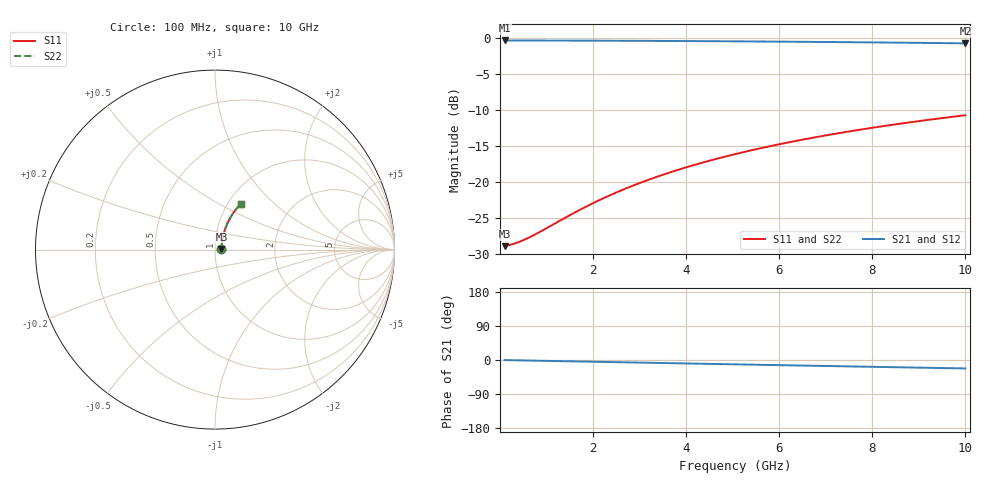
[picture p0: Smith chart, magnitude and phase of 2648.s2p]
# Hz S RI R 50.00
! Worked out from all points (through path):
!   100 points, 100 MHz to 10 GHz, reference 50 ohm
!   highest |S21| = -0.32 dB at 100 MHz (marker M1); lowest = -0.7 dB at 10 GHz (marker M2)
!   group delay of S21, straight-line fit = 6.19 ps
!   lowest |S11| = -28.9 dB at 100 MHz (marker M3), VSWR 1.07, Z = 53.7 + j0.313 ohm
!   |S11| at or under -10 dB: start of sweep to end of sweep
!   |S22| runs from -28.9 to -10.7 dB; largest |S21 - S12| = 0
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1e8  0.0357 0.00291  0.9643 -0.00385  0.9643 -0.00385  0.0357 0.00291
3e8  0.0362 0.00872  0.9638 -0.0116  0.9638 -0.0116  0.0362 0.00872
4e8  0.0364 0.0116  0.9636 -0.0154  0.9636 -0.0154  0.0364 0.0116
6e8  0.0368 0.0174  0.9631 -0.0231  0.9631 -0.0231  0.0368 0.0174
8e8  0.0373 0.0232  0.9626 -0.0308  0.9626 -0.0308  0.0373 0.0232
1.5e9  0.0396 0.0434  0.9603 -0.0575  0.9603 -0.0575  0.0396 0.0434
1.8e9  0.0409 0.052  0.9589 -0.069  0.9589 -0.069  0.0409 0.052
2.2e9  0.0429 0.0633  0.9568 -0.0841  0.9568 -0.0841  0.0429 0.0633
2.6e9  0.0453 0.0746  0.9544 -0.0992  0.9544 -0.0992  0.0453 0.0746
3e9  0.0479 0.0858  0.9516 -0.1142  0.9516 -0.1142  0.0479 0.0858
3.4e9  0.051 0.0969  0.9485 -0.1291  0.9485 -0.1291  0.051 0.0969
3.8e9  0.0543 0.1079  0.945 -0.1438  0.945 -0.1438  0.0543 0.1079
4.2e9  0.058 0.1187  0.9412 -0.1584  0.9412 -0.1584  0.058 0.1187
4.6e9  0.062 0.1294  0.937 -0.1729  0.937 -0.1729  0.062 0.1294
5.1e9  0.0674 0.1425  0.9313 -0.1908  0.9313 -0.1908  0.0674 0.1425
5.5e9  0.0721 0.1528  0.9264 -0.2049  0.9264 -0.2049  0.0721 0.1528
5.9e9  0.0771 0.1629  0.9212 -0.2188  0.9212 -0.2188  0.0771 0.1629
6.7e9  0.088 0.1825  0.9099 -0.246  0.9099 -0.246  0.088 0.1825
7.5e9  0.1 0.2012  0.8974 -0.2724  0.8974 -0.2724  0.1 0.2012
8.4e9  0.1146 0.2212  0.8821 -0.3009  0.8821 -0.3009  0.1146 0.2212
9.2e9  0.1286 0.2379  0.8675 -0.3253  0.8675 -0.3253  0.1286 0.2379
1e10  0.1433 0.2535  0.852 -0.3486  0.852 -0.3486  0.1433 0.2535
